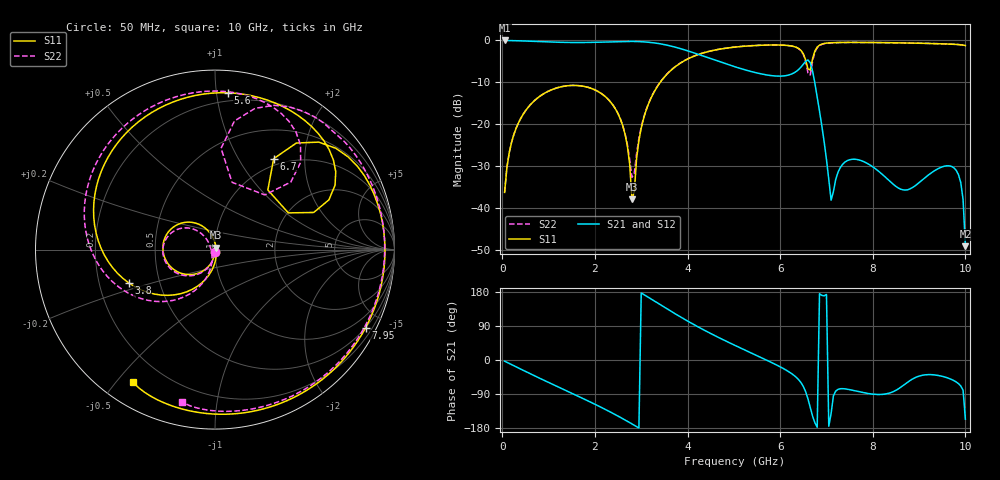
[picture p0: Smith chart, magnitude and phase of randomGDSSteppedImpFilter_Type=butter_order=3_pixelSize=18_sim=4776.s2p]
! freq	dB(S11)	phase(S11)	dB(S12)	phase(S12)
!  dB(S21)	phase(S21)	dB(S22)	phase(S22)
!S-par simulation data
#  GHz  S  DB  R 50
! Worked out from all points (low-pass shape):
!   200 points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, 50 MHz to 10 GHz, reference 50 ohm
!   highest |S21| = 0.00 dB at 50 MHz (marker M1); lowest = -49.1 dB at 10 GHz (marker M2)
!   |S21| within 3 dB of the highest: start of sweep to 4.147 GHz
!   lowest |S11| = -37.9 dB at 2.8 GHz (marker M3), VSWR 1.03, Z = 50.7 + j1.06 ohm
!   |S11| at or under -10 dB: start of sweep to 3.411 GHz
!   |S22| runs from -36.3 to -0.5 dB; largest |S21 - S12| = 0
!   S11 on the Smith chart (normalised r, x): 50 MHz: 1.00, -0.03; 3.8 GHz: 0.33, -0.17; 5.6 GHz: 0.14, +1.07; 6.7 GHz: 0.90, +1.43; 7.95 GHz: 0.49, -4.04; 10 GHz: 0.09, -0.55
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0.05  -36.29 -93.1  -0.00 -3.1  -0.00 -3.1  -36.28 -93.0
0.2  -24.33 -102.5  -0.04 -12.2  -0.04 -12.2  -24.33 -101.8
0.5  -16.81 -121.3  -0.14 -30.1  -0.14 -30.1  -16.81 -119.6
1.75  -10.94 164.0  -0.49 -102.1  -0.49 -102.1  -10.93 171.3
2.55  -18.78 110.9  -0.26 -151.4  -0.26 -151.4  -18.72 130.3
2.7  -25.14 96.6  -0.23 -161.6  -0.23 -161.6  -24.77 131.2
2.8  -37.89 55.1  -0.23 -168.6  -0.23 -168.6  -32.68 171.3
3  -20.93 -93.8  -0.30 176.9  -0.30 176.9  -20.63 -103.3
3.4  -10.16 -127.8  -0.78 146.9  -0.78 146.9  -10.10 -122.9
3.8  -5.75 -159.0  -1.80 117.1  -1.80 117.1  -5.72 -149.9
5.05  -1.56 117.8  -6.38 37.0  -6.38 37.0  -1.54 135.3
5.6  -1.15 85.4  -8.01 5.8  -8.01 5.8  -1.13 106.0
6.45  -2.39 28.2  -6.36 -59.7  -6.36 -59.7  -2.46 50.7
6.6  -6.80 26.6  -4.66 -102.3  -4.66 -102.3  -7.70 47.6
6.7  -4.40 57.2  -7.29 -148.2  -7.29 -148.2  -4.95 86.6
7.1  -0.55 18.9  -38.13 -141.5  -38.13 -141.5  -0.63 45.8
7.4  -0.47 0.8  -29.03 -76.1  -29.03 -76.1  -0.49 27.8
7.95  -0.49 -27.5  -29.81 -89.4  -29.81 -89.4  -0.49 -1.5
8.35  -0.54 -46.4  -33.44 -87.6  -33.44 -87.6  -0.53 -21.5
9.75  -0.92 -108.7  -30.40 -54.3  -30.40 -54.3  -0.91 -88.5
9.9  -1.04 -116.1  -33.94 -68.5  -33.94 -68.5  -1.03 -96.4
10  -1.22 -121.6  -49.12 -156.2  -49.12 -156.2  -1.21 -102.2
